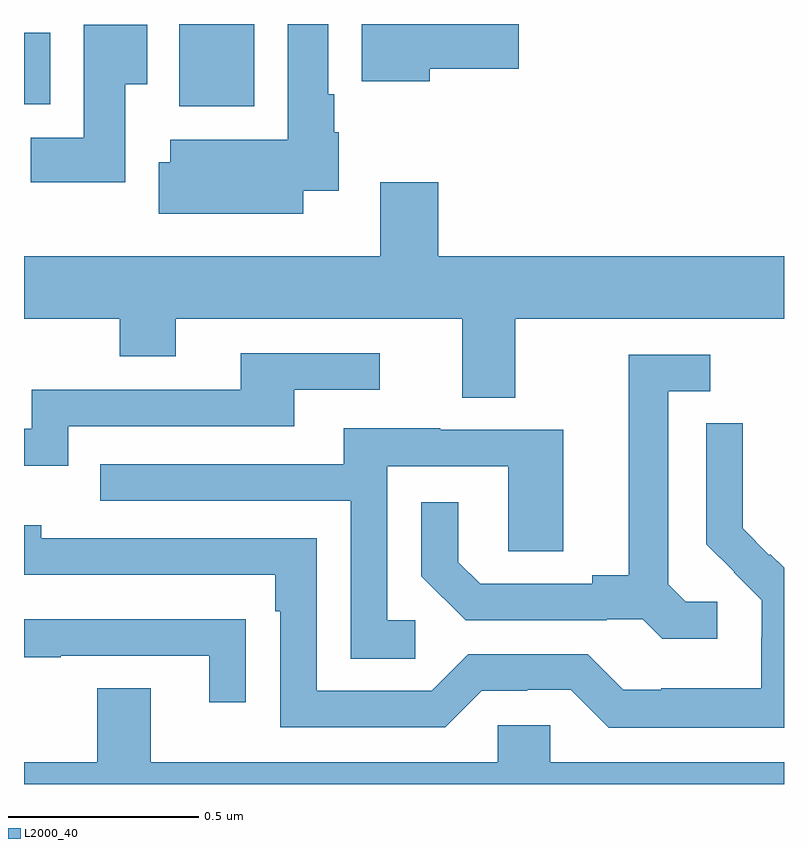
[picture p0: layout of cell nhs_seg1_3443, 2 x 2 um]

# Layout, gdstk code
import gdstk
lib = gdstk.Library(unit=1e-6, precision=1e-09)
def R(c, l, rs):  # rectangles x0, y0, x1, y1
    for r in rs: c.add(gdstk.rectangle(r[:2], r[2:], *l))
def P(c, l, *ps):  # polygons
    for p in ps: c.add(gdstk.Polygon(p, *l))
L2000_40 = (2000, 40)

nhs_seg1_3443 = lib.new_cell('nhs_seg1_3443')
R(nhs_seg1_3443, L2000_40, [(154.409,526.982,154.606,527.199), (154,526.988,154.069,527.176)])
P(nhs_seg1_3443, L2000_40, [(154.735,526.76),(154.828,526.76),(154.828,526.914),(154.816,526.914),(154.816,527.014),(154.801,527.014),(154.801,527.199),(154.694,527.199),(154.694,526.894),(154.385,526.894),(154.385,526.835),(154.355,526.835),(154.355,526.7),(154.735,526.7)],
  [(155.068,527.081),(155.302,527.081),(155.302,527.199),(154.889,527.199),(154.889,527.048),(155.068,527.048)],
  [(154.267,527.041),(154.324,527.041),(154.324,527.197),(154.157,527.197),(154.157,526.9),(154.018,526.9),(154.018,526.782),(154.267,526.782)],
  [(155.293,526.424),(156,526.424),(156,526.588),(155.09,526.588),(155.09,526.783),(154.937,526.783),(154.937,526.588),(154,526.588),(154,526.424),(154.252,526.424),(154.252,526.325),(154.399,526.325),(154.399,526.424),(155.153,526.424),(155.153,526.216),(155.293,526.216)],
  [(154.116,526.14),(154.711,526.14),(154.711,526.236),(154.936,526.236),(154.936,526.332),(154.571,526.332),(154.571,526.236),(154.02,526.236),(154.02,526.134),(154,526.134),(154,526.037),(154.116,526.037)],
  [(155.824,525.678),(155.742,525.678),(155.695,525.725),(155.695,526.233),(155.806,526.233),(155.806,526.329),(155.591,526.329),(155.591,525.749),(155.495,525.749),(155.495,525.726),(155.2,525.726),(155.143,525.783),(155.143,525.94),(155.046,525.94),(155.046,525.746),(155.162,525.63),(155.534,525.63),(155.534,525.633),(155.628,525.633),(155.68,525.581),(155.824,525.581)],
  [(156,525.768),(155.964,525.804),(155.961,525.801),(155.891,525.872),(155.891,525.994),(155.892,525.994),(155.892,526.148),(155.796,526.148),(155.796,525.83),(155.869,525.757),(155.868,525.756),(155.942,525.682),(155.942,525.585),(155.94,525.585),(155.94,525.451),(155.677,525.451),(155.677,525.447),(155.577,525.447),(155.484,525.54),(155.169,525.54),(155.073,525.444),(154.77,525.444),(154.77,525.846),(154.046,525.846),(154.046,525.88),(154,525.88),(154,525.75),(154.661,525.75),(154.661,525.653),(154.674,525.653),(154.674,525.348),(155.109,525.348),(155.205,525.444),(155.324,525.444),(155.324,525.447),(155.439,525.447),(155.539,525.347),(156,525.347)],
  [(155.029,525.63),(154.956,525.63),(154.956,526.035),(155.274,526.035),(155.274,525.811),(155.419,525.811),(155.419,526.131),(155.095,526.131),(155.095,526.135),(154.841,526.135),(154.841,526.041),(154.201,526.041),(154.201,525.945),(154.86,525.945),(154.86,525.529),(155.029,525.529)],
  [(154.583,525.632),(154.481,525.632),(154.481,525.633),(154,525.633),(154,525.532),(154.097,525.532),(154.097,525.537),(154.487,525.537),(154.487,525.414),(154.583,525.414)],
  [(156,525.256),(155.385,525.256),(155.385,525.354),(155.247,525.354),(155.247,525.256),(154.333,525.256),(154.333,525.451),(154.193,525.451),(154.193,525.256),(154,525.256),(154,525.199),(156,525.199)])

lib.write_gds('nhs_seg1_3443.gds')
